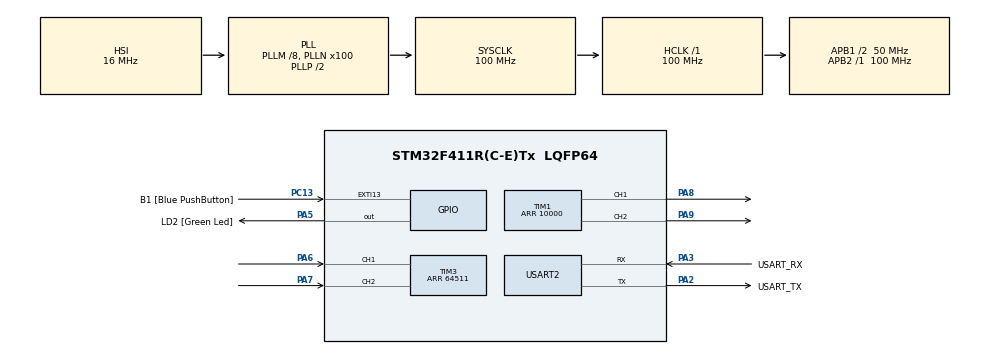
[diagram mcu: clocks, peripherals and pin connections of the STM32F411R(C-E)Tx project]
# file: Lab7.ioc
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Mcu.Family=STM32F4
RCC.CortexFreq_Value=100000000
PA14.GPIO_Label=TCK
TIM3.EncoderMode=TIM_ENCODERMODE_TI12
TIM1.Pulse-PWM\ Generation1\ CH1=0
RCC.SYSCLKSource=RCC_SYSCLKSOURCE_PLLCLK
ProjectManager.StackSize=0x400
PH0\ -\ OSC_IN.Signal=RCC_OSC_IN
RCC.HCLKFreq_Value=100000000
RCC.APB2TimFreq_Value=100000000
TIM3.Period=64511
RCC.AHBFreq_Value=100000000
RCC.HSE_VALUE=8000000
PC13-ANTI_TAMP.Signal=GPXTI13
PC14-OSC32_IN.Mode=LSE-External-Oscillator
TIM1.Channel-PWM\ Generation1\ CH1=TIM_CHANNEL_1
PA14.Mode=Serial_Wire
NVIC.TIM2_IRQn=true\:0\:0\:false\:false\:true\:true\:true
PA8.Signal=S_TIM1_CH1
SH.S_TIM3_CH1.0=TIM3_CH1,Encoder_Interface
VP_TIM1_VS_ClockSourceINT.Mode=Internal
RCC.FLatency-AdvancedSettings=FLASH_LATENCY_3
Mcu.Package=LQFP64
TIM2.Prescaler=99
PA6.Signal=S_TIM3_CH1
USART2.VirtualMode=VM_ASYNC
PA2.GPIO_Label=USART_TX
RCC.APB1TimFreq_Value=100000000
TIM1.Period=10000
PA3.Signal=USART2_RX
PB3.GPIO_Label=SWO
PC15-OSC32_OUT.Mode=LSE-External-Oscillator
PC13-ANTI_TAMP.GPIO_Label=B1 [Blue PushButton]
PH1\ -\ OSC_OUT.Mode=HSE-External-Clock-Source
RCC.APB1CLKDivider=RCC_HCLK_DIV2
PC14-OSC32_IN.Signal=RCC_OSC32_IN
TIM1.AutoReloadPreload=TIM_AUTORELOAD_PRELOAD_ENABLE
PA13.Signal=SYS_JTMS-SWDIO
PA3.Mode=Asynchronous
PH0\ -\ OSC_IN.Mode=HSE-External-Clock-Source
SH.S_TIM1_CH1.0=TIM1_CH1,PWM Generation1 CH1
ProjectManager.TargetToolchain=STM32CubeIDE
TIM3.IC2Filter=2
PA9.Signal=S_TIM1_CH2
TIM1.Channel-PWM\ Generation2\ CH2=TIM_CHANNEL_2
PC15-OSC32_OUT.Signal=RCC_OSC32_OUT
PA5.Signal=GPIO_Output
SH.S_TIM3_CH2.0=TIM3_CH2,Encoder_Interface
TIM3.IC1Filter=2
PH1\ -\ OSC_OUT.Signal=RCC_OSC_OUT
board=NUCLEO-F411RE
RCC.VCOOutputFreq_Value=200000000
RCC.APB2Freq_Value=100000000
VP_TIM2_VS_ClockSourceINT.Mode=Internal
SH.S_TIM1_CH2.0=TIM1_CH2,PWM Generation2 CH2
PA13.Mode=Serial_Wire
Mcu.Name=STM32F411R(C-E)Tx
PA13.GPIO_Label=TMS
PA2.Signal=USART2_TX
RCC.48MHZClocksFreq_Value=50000000
PB3.Signal=SYS_JTDO-SWO
RCC.SYSCLKFreq_VALUE=100000000
PA5.GPIO_Label=LD2 [Green Led]
PC13-ANTI_TAMP.GPIO_ModeDefaultEXTI=GPIO_MODE_IT_FALLING
PA14.Signal=SYS_JTCK-SWCLK
ProjectManager.HeapSize=0x200
RCC.HSI_VALUE=16000000
NVIC.PriorityGroup=NVIC_PRIORITYGROUP_0
RCC.PLLM=8
RCC.PLLN=100
PA2.Mode=Asynchronous
RCC.APB1Freq_Value=50000000
PA3.GPIO_Label=USART_RX
PA7.Signal=S_TIM3_CH2

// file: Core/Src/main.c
/* USER CODE BEGIN Header */
/**
  ******************************************************************************
  * @file           : main.c
  * @brief          : Main program body
  ******************************************************************************
  * @attention
  *
  * <h2><center>&copy; Copyright (c) 2021 STMicroelectronics.
  * All rights reserved.</center></h2>
  *
  * This software component is licensed by ST under BSD 3-Clause license,
  * the "License"; You may not use this file except in compliance with the
  * License. You may obtain a copy of the License at:
  *                        opensource.org/licenses/BSD-3-Clause
  *
  ******************************************************************************
  */
/* USER CODE END Header */
#include "main.h"

TIM_HandleTypeDef htim1;
TIM_HandleTypeDef htim2;
TIM_HandleTypeDef htim3;

UART_HandleTypeDef huart2;

/* USER CODE BEGIN PV */
uint64_t _micros = 0;
float EncoderVel = 0;
uint64_t Timestamp_Encoder = 0;
uint64_t Time = 0;
float RPM = 0;
float desire = 10;
uint16_t PWMOut = 0;
float edot = 0;
float eprev = 0;
float eint = 0;
float e = 0;
float Kp = 0;
float Kd = 0;
float Ki = 0;
float bias = 0;
float PWM =0;

//trapezodial
//uint64_t sec = 0;
//uint64_t t_o = 1000000;
//uint64_t t_f = 6;
float T = 0;
float A = 0;
float V = 0;
int on = 0;

/* USER CODE END PV */

void SystemClock_Config(void);
static void MX_GPIO_Init(void);
static void MX_USART2_UART_Init(void);
static void MX_TIM1_Init(void);
static void MX_TIM2_Init(void);
static void MX_TIM3_Init(void);
/* USER CODE BEGIN PFP */
uint64_t micros();
float EncoderVelocity_Update();

/* USER CODE END PFP */

int main(void)
{

  /* MCU Configuration--------------------------------------------------------*/

  /* Reset of all peripherals, Initializes the Flash interface and the Systick. */
  HAL_Init();

  /* Configure the system clock */
  SystemClock_Config();

  /* Initialize all configured peripherals */
  MX_GPIO_Init();
  MX_USART2_UART_Init();
  MX_TIM1_Init();
  MX_TIM2_Init();
  MX_TIM3_Init();
  /* USER CODE BEGIN 2 */
  HAL_TIM_Base_Start_IT(&htim2);
  HAL_TIM_Encoder_Start(&htim3, TIM_CHANNEL_ALL);

  //start pwm
  HAL_TIM_Base_Start(&htim1);
  HAL_TIM_PWM_Start(&htim1, TIM_CHANNEL_1);
  HAL_TIM_PWM_Start(&htim1, TIM_CHANNEL_2);

  /* USER CODE END 2 */

  /* Infinite loop */
  while (1)
  {

    /* USER CODE BEGIN 3 */
	  //Add LPF? //10000 us //10ms
	  //ความถี่สูง อัพเดทเร็ว control ง่าย
	  //ยิ่งเร็วความเสถียรของว encoder ต่ำลง
	  //เพิ่มเวลาลด sampling
	  if (micros() - Timestamp_Encoder >= 100)
	  {
	  	Timestamp_Encoder = micros();
	  	//ยิ่งคูณตัวคูณมา�?ทำให้เวลาช้าลง �?ละ�?ลคมา�?ขึ้นเพราะลู่เข้าช้าลง �?ต่ละเอียดขึ้น
	  	EncoderVel = ((EncoderVel * 999) + EncoderVelocity_Update()) / 1000.0; //pulse per sec
	  	RPM = EncoderVel*60/3072.0; //rpm
	  }

	  if (micros() - Time >= 1000)
	  {
		  Time = micros();
//		  if (T>=0 && T< 1)
//		  {
//			  A = desire*T/1;
//			  T += 0.001;
//			  on = 1;
//		  }
//		  else if (T >= 1 && T<2)
//		  {
//			  A = A;
//			  T += 0.001;
//			  on = 2;
//		  }
//		  else if (T >= 2 && T < 3)
//		  {
//			  A  = (1*desire - desire*T)/1;
//			  T += 0.001;
//			  on =3;
//		  }
//		  else if (T >= 3 && T < 4)
//		  {
//			  T += 0.001;
//			  on = 4;
//			  A = 0;
//		  }
//		  else if (T >= 4 && T<5)
//		  {
//			  T += 0.001;
//			  on = 5;
//			  A  = -desire*T/1;
//		  }
//		  else if (T>=5 && T<6)
//		  {
//			  T += 0.001;
//			  on = 6;
//			  A  = A;
//		  }
//		  else if (T>=6 && T<7)
//		  {
//		  	T += 0.001;
//		  	on = 7;
//		  	A  = -(1*desire - desire*T)/1;
//		  }
//		  else
//		  {
//			  T = 0;
//		  }

		  if (desire != 0 )
		  {
		  	 //eint = 0;
		  	 //eprev = 0;
		  	 //repeat every dt second
		  	 //e = desired - read_sensor()
		  	 //edot = (e-eprev)/dt
		  	 //eint = eint + e*dt
		  	 //u = Kp*e + Ki*eint + Kd*edot + bias
		  	 //eprev = e
		  	 //send_control(u)

		  	 e = desire - RPM;
//			  V+= A;
//			 e = V - RPM;
		  	 edot = (e-eprev)*1000.0; //(e-eprev)/1000 us = (e-eprev)*1000.0 second
		  	 eint = eint + e/1000.0; //eint = eint + e*1000 us = eint + e/1000.0 second
		  	 Kp = 4000; Ki = 2000; Kd = 42; bias = 0; //kd = 60, bias = 8000;
		  	 PWM = Kp*e + Ki*eint + Kd*edot + bias;

		  	 if (PWM > 10000)
		  	 {
		  	  	PWM = 10000;
		  	 }
		  	 else if (PWM <-10000)
		  	 {
		  	  	PWM = -10000;
		  	 }

		  	 eprev = e;

		  	 if (PWM > 0)
		  	 {
		  	  	PWMOut = PWM ;
		  	  	__HAL_TIM_SET_COMPARE(&htim1, TIM_CHANNEL_1, PWMOut);
		  	  	__HAL_TIM_SET_COMPARE(&htim1, TIM_CHANNEL_2, 0);
		  	  }
		  	  	else if (PWM < 0)
		  	  {
		  	  	PWMOut = PWM*-1;
		  	  	__HAL_TIM_SET_COMPARE(&htim1, TIM_CHANNEL_1, 0);
		  	  	__HAL_TIM_SET_COMPARE(&htim1, TIM_CHANNEL_2, PWMOut);
		  	  }

		  }
			else
			{
				__HAL_TIM_SET_COMPARE(&htim1, TIM_CHANNEL_1, 0);
				__HAL_TIM_SET_COMPARE(&htim1, TIM_CHANNEL_2, 0);
			}
	  }
  }
  /* USER CODE END 3 */
}

void SystemClock_Config(void)
{
  RCC_OscInitTypeDef RCC_OscInitStruct = {0};
  RCC_ClkInitTypeDef RCC_ClkInitStruct = {0};

  /** Configure the main internal regulator output voltage
  */
  __HAL_RCC_PWR_CLK_ENABLE();
  __HAL_PWR_VOLTAGESCALING_CONFIG(PWR_REGULATOR_VOLTAGE_SCALE1);
  /** Initializes the RCC Oscillators according to the specified parameters
  * in the RCC_OscInitTypeDef structure.
  */
  RCC_OscInitStruct.OscillatorType = RCC_OSCILLATORTYPE_HSI;
  RCC_OscInitStruct.HSIState = RCC_HSI_ON;
  RCC_OscInitStruct.HSICalibrationValue = RCC_HSICALIBRATION_DEFAULT;
  RCC_OscInitStruct.PLL.PLLState = RCC_PLL_ON;
  RCC_OscInitStruct.PLL.PLLSource = RCC_PLLSOURCE_HSI;
  RCC_OscInitStruct.PLL.PLLM = 8;
  RCC_OscInitStruct.PLL.PLLN = 100;
  RCC_OscInitStruct.PLL.PLLP = RCC_PLLP_DIV2;
  RCC_OscInitStruct.PLL.PLLQ = 4;
  if (HAL_RCC_OscConfig(&RCC_OscInitStruct) != HAL_OK)
  {
    Error_Handler();
  }
  /** Initializes the CPU, AHB and APB buses clocks
  */
  RCC_ClkInitStruct.ClockType = RCC_CLOCKTYPE_HCLK|RCC_CLOCKTYPE_SYSCLK
                              |RCC_CLOCKTYPE_PCLK1|RCC_CLOCKTYPE_PCLK2;
  RCC_ClkInitStruct.SYSCLKSource = RCC_SYSCLKSOURCE_PLLCLK;
  RCC_ClkInitStruct.AHBCLKDivider = RCC_SYSCLK_DIV1;
  RCC_ClkInitStruct.APB1CLKDivider = RCC_HCLK_DIV2;
  RCC_ClkInitStruct.APB2CLKDivider = RCC_HCLK_DIV1;

  if (HAL_RCC_ClockConfig(&RCC_ClkInitStruct, FLASH_LATENCY_3) != HAL_OK)
  {
    Error_Handler();
  }
}

static void MX_TIM1_Init(void)
{

  TIM_ClockConfigTypeDef sClockSourceConfig = {0};
  TIM_MasterConfigTypeDef sMasterConfig = {0};
  TIM_OC_InitTypeDef sConfigOC = {0};
  TIM_BreakDeadTimeConfigTypeDef sBreakDeadTimeConfig = {0};

  htim1.Instance = TIM1;
  htim1.Init.Prescaler = 0;
  htim1.Init.CounterMode = TIM_COUNTERMODE_UP;
  htim1.Init.Period = 10000;
  htim1.Init.ClockDivision = TIM_CLOCKDIVISION_DIV1;
  htim1.Init.RepetitionCounter = 0;
  htim1.Init.AutoReloadPreload = TIM_AUTORELOAD_PRELOAD_ENABLE;
  if (HAL_TIM_Base_Init(&htim1) != HAL_OK)
  {
    Error_Handler();
  }
  sClockSourceConfig.ClockSource = TIM_CLOCKSOURCE_INTERNAL;
  if (HAL_TIM_ConfigClockSource(&htim1, &sClockSourceConfig) != HAL_OK)
  {
    Error_Handler();
  }
  if (HAL_TIM_PWM_Init(&htim1) != HAL_OK)
  {
    Error_Handler();
  }
  sMasterConfig.MasterOutputTrigger = TIM_TRGO_RESET;
  sMasterConfig.MasterSlaveMode = TIM_MASTERSLAVEMODE_DISABLE;
  if (HAL_TIMEx_MasterConfigSynchronization(&htim1, &sMasterConfig) != HAL_OK)
  {
    Error_Handler();
  }
  sConfigOC.OCMode = TIM_OCMODE_PWM1;
  sConfigOC.Pulse = 0;
  sConfigOC.OCPolarity = TIM_OCPOLARITY_HIGH;
  sConfigOC.OCNPolarity = TIM_OCNPOLARITY_HIGH;
  sConfigOC.OCFastMode = TIM_OCFAST_DISABLE;
  sConfigOC.OCIdleState = TIM_OCIDLESTATE_RESET;
  sConfigOC.OCNIdleState = TIM_OCNIDLESTATE_RESET;
  if (HAL_TIM_PWM_ConfigChannel(&htim1, &sConfigOC, TIM_CHANNEL_1) != HAL_OK)
  {
    Error_Handler();
  }
  if (HAL_TIM_PWM_ConfigChannel(&htim1, &sConfigOC, TIM_CHANNEL_2) != HAL_OK)
  {
    Error_Handler();
  }
  sBreakDeadTimeConfig.OffStateRunMode = TIM_OSSR_DISABLE;
  sBreakDeadTimeConfig.OffStateIDLEMode = TIM_OSSI_DISABLE;
  sBreakDeadTimeConfig.LockLevel = TIM_LOCKLEVEL_OFF;
  sBreakDeadTimeConfig.DeadTime = 0;
  sBreakDeadTimeConfig.BreakState = TIM_BREAK_DISABLE;
  sBreakDeadTimeConfig.BreakPolarity = TIM_BREAKPOLARITY_HIGH;
  sBreakDeadTimeConfig.AutomaticOutput = TIM_AUTOMATICOUTPUT_DISABLE;
  if (HAL_TIMEx_ConfigBreakDeadTime(&htim1, &sBreakDeadTimeConfig) != HAL_OK)
  {
    Error_Handler();
  }
  HAL_TIM_MspPostInit(&htim1);

}

static void MX_TIM2_Init(void)
{

  TIM_ClockConfigTypeDef sClockSourceConfig = {0};
  TIM_MasterConfigTypeDef sMasterConfig = {0};

  htim2.Instance = TIM2;
  htim2.Init.Prescaler = 99;
  htim2.Init.CounterMode = TIM_COUNTERMODE_UP;
  htim2.Init.Period = 4294967295;
  htim2.Init.ClockDivision = TIM_CLOCKDIVISION_DIV1;
  htim2.Init.AutoReloadPreload = TIM_AUTORELOAD_PRELOAD_DISABLE;
  if (HAL_TIM_Base_Init(&htim2) != HAL_OK)
  {
    Error_Handler();
  }
  sClockSourceConfig.ClockSource = TIM_CLOCKSOURCE_INTERNAL;
  if (HAL_TIM_ConfigClockSource(&htim2, &sClockSourceConfig) != HAL_OK)
  {
    Error_Handler();
  }
  sMasterConfig.MasterOutputTrigger = TIM_TRGO_RESET;
  sMasterConfig.MasterSlaveMode = TIM_MASTERSLAVEMODE_DISABLE;
  if (HAL_TIMEx_MasterConfigSynchronization(&htim2, &sMasterConfig) != HAL_OK)
  {
    Error_Handler();
  }

}

static void MX_TIM3_Init(void)
{

  TIM_Encoder_InitTypeDef sConfig = {0};
  TIM_MasterConfigTypeDef sMasterConfig = {0};

  htim3.Instance = TIM3;
  htim3.Init.Prescaler = 0;
  htim3.Init.CounterMode = TIM_COUNTERMODE_UP;
  htim3.Init.Period = 64511;
  htim3.Init.ClockDivision = TIM_CLOCKDIVISION_DIV1;
  htim3.Init.AutoReloadPreload = TIM_AUTORELOAD_PRELOAD_DISABLE;
  sConfig.EncoderMode = TIM_ENCODERMODE_TI12;
  sConfig.IC1Polarity = TIM_ICPOLARITY_RISING;
  sConfig.IC1Selection = TIM_ICSELECTION_DIRECTTI;
  sConfig.IC1Prescaler = TIM_ICPSC_DIV1;
  sConfig.IC1Filter = 2;
  sConfig.IC2Polarity = TIM_ICPOLARITY_RISING;
  sConfig.IC2Selection = TIM_ICSELECTION_DIRECTTI;
  sConfig.IC2Prescaler = TIM_ICPSC_DIV1;
  sConfig.IC2Filter = 2;
  if (HAL_TIM_Encoder_Init(&htim3, &sConfig) != HAL_OK)
  {
    Error_Handler();
  }
  sMasterConfig.MasterOutputTrigger = TIM_TRGO_RESET;
  sMasterConfig.MasterSlaveMode = TIM_MASTERSLAVEMODE_DISABLE;
  if (HAL_TIMEx_MasterConfigSynchronization(&htim3, &sMasterConfig) != HAL_OK)
  {
    Error_Handler();
  }

}

static void MX_USART2_UART_Init(void)
{

  huart2.Instance = USART2;
  huart2.Init.BaudRate = 115200;
  huart2.Init.WordLength = UART_WORDLENGTH_8B;
  huart2.Init.StopBits = UART_STOPBITS_1;
  huart2.Init.Parity = UART_PARITY_NONE;
  huart2.Init.Mode = UART_MODE_TX_RX;
  huart2.Init.HwFlowCtl = UART_HWCONTROL_NONE;
  huart2.Init.OverSampling = UART_OVERSAMPLING_16;
  if (HAL_UART_Init(&huart2) != HAL_OK)
  {
    Error_Handler();
  }

}

static void MX_GPIO_Init(void)
{
  GPIO_InitTypeDef GPIO_InitStruct = {0};

  /* GPIO Ports Clock Enable */
  __HAL_RCC_GPIOC_CLK_ENABLE();
  __HAL_RCC_GPIOH_CLK_ENABLE();
  __HAL_RCC_GPIOA_CLK_ENABLE();
  __HAL_RCC_GPIOB_CLK_ENABLE();

  /*Configure GPIO pin Output Level */
  HAL_GPIO_WritePin(LD2_GPIO_Port, LD2_Pin, GPIO_PIN_RESET);

  /*Configure GPIO pin : B1_Pin */
  GPIO_InitStruct.Pin = B1_Pin;
  GPIO_InitStruct.Mode = GPIO_MODE_IT_FALLING;
  GPIO_InitStruct.Pull = GPIO_NOPULL;
  HAL_GPIO_Init(B1_GPIO_Port, &GPIO_InitStruct);

  /*Configure GPIO pin : LD2_Pin */
  GPIO_InitStruct.Pin = LD2_Pin;
  GPIO_InitStruct.Mode = GPIO_MODE_OUTPUT_PP;
  GPIO_InitStruct.Pull = GPIO_NOPULL;
  GPIO_InitStruct.Speed = GPIO_SPEED_FREQ_LOW;
  HAL_GPIO_Init(LD2_GPIO_Port, &GPIO_InitStruct);

}

/* USER CODE BEGIN 4 */
#define  HTIM_ENCODER htim3
#define  MAX_SUBPOSITION_OVERFLOW 1536 //gain
#define  MAX_ENCODER_PERIOD 64512

float EncoderVelocity_Update() //angular velocity
{
	//Save Last state
	static uint32_t EncoderLastPosition = 0; //เ�?็บค่าของรอบที่�?ล้วถึง�?ม้ว่า function จะจบไป�?ล้ว
	static uint64_t EncoderLastTimestamp = 0; //เท่า�?ับ 0 จะไม่ถู�?เรีย�?ใช้ใหม่

	//read data
	uint32_t EncoderNowPosition = HTIM_ENCODER.Instance->CNT; //TIM1->CNT ตำ�?หน่ง memory
	uint64_t EncoderNowTimestamp = micros();

	int32_t EncoderPositionDiff;
	uint64_t EncoderTimeDiff;

	EncoderTimeDiff = EncoderNowTimestamp - EncoderLastTimestamp; //dt
	EncoderPositionDiff = EncoderNowPosition - EncoderLastPosition; //dp

	//compensate overflow and underflow
	if (EncoderPositionDiff >= MAX_SUBPOSITION_OVERFLOW) //ค่าสูงสุดที่รับได้
	{
		EncoderPositionDiff -= MAX_ENCODER_PERIOD;
	}
	else if (-EncoderPositionDiff >= MAX_SUBPOSITION_OVERFLOW)
	{
		EncoderPositionDiff += MAX_ENCODER_PERIOD;
	}

	//Update Position and time
	EncoderLastPosition = EncoderNowPosition;
	EncoderLastTimestamp = EncoderNowTimestamp;

	//Calculate velocity
	//EncoderTimeDiff is in uS
	return (EncoderPositionDiff * 1000000) / (float) EncoderTimeDiff; //pulse per sec

}

void HAL_TIM_PeriodElapsedCallback(TIM_HandleTypeDef *htim)
{
	if (htim == &htim2)
	{
		_micros += 4294967295;
	}
}

uint64_t micros()
{
	return _micros + htim2.Instance->CNT;
}

/* USER CODE END 4 */

void Error_Handler(void)
{
  __disable_irq();
  while (1)
  {
  }
}

/************************ (C) COPYRIGHT STMicroelectronics *****END OF FILE****/
